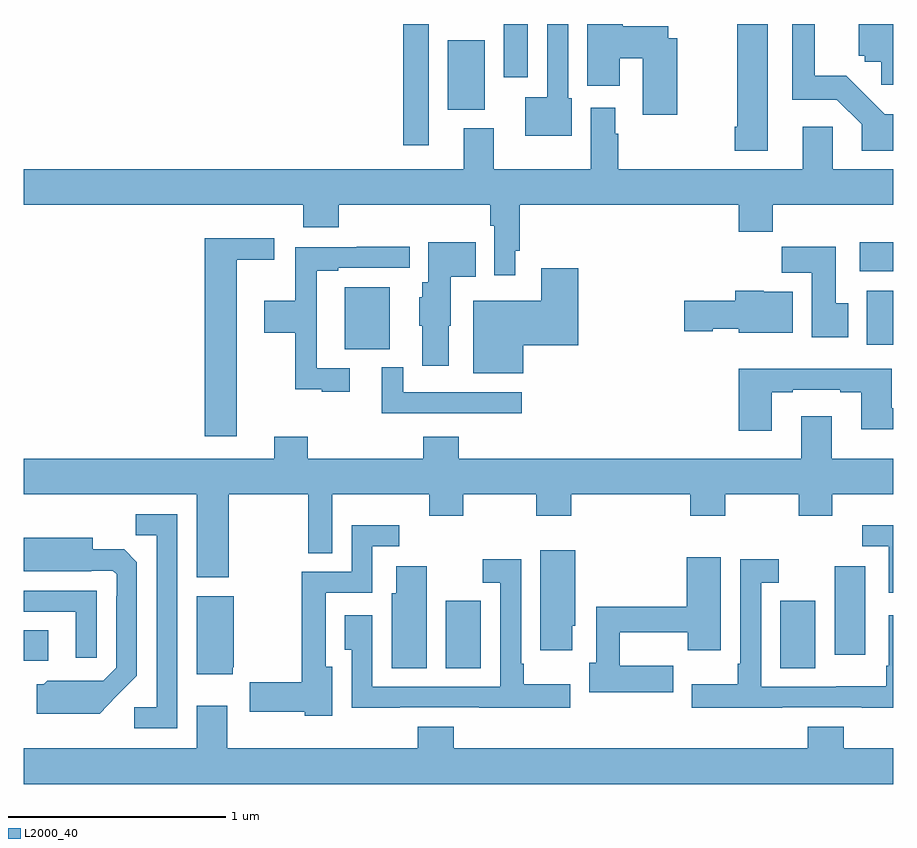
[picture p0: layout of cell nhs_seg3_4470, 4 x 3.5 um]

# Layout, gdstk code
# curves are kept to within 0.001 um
import gdstk
lib = gdstk.Library(unit=1e-6, precision=1e-09)
def R(c, l, rs):  # rectangles x0, y0, x1, y1
    for r in rs: c.add(gdstk.rectangle(r[:2], r[2:], *l))
def P(c, l, *ps):  # polygons
    for p in ps: c.add(gdstk.Polygon(p, *l))
L2000_40 = (2000, 40)

nhs_seg3_4470 = lib.new_cell('nhs_seg3_4470')
R(nhs_seg3_4470, L2000_40, [(350.942,713.437,351.103,713.748), (352.481,713.437,352.642,713.748), (349,713.472,349.114,713.612), (352.73,713.499,352.87,713.905), (350.477,714.905,350.683,715.189), (352.877,714.924,353,715.174), (352.845,715.262,353,715.396), (350.746,715.842,350.862,716.4), (350.951,716.006,351.121,716.326), (351.209,716.154,351.319,716.4)])
P(nhs_seg3_4470, L2000_40, [(351.52,716.058),(351.504,716.058),(351.504,716.4),(351.408,716.4),(351.408,716.062),(351.308,716.062),(351.308,715.886),(351.52,715.886)],
  [(353,715.984),(352.961,715.984),(352.783,716.162),(352.639,716.162),(352.639,716.4),(352.535,716.4),(352.535,716.052),(352.74,716.052),(352.854,715.938),(352.854,715.818),(353,715.818)],
  [(352.423,716.4),(352.283,716.4),(352.283,715.927),(352.271,715.927),(352.271,715.817),(352.423,715.817)],
  [(353,716.4),(352.841,716.4),(352.841,716.253),(352.869,716.253),(352.869,716.226),(352.945,716.226),(352.945,716.121),(353,716.121)],
  [(352.006,716.335),(351.964,716.335),(351.964,716.39),(351.755,716.39),(351.755,716.4),(351.593,716.4),(351.593,716.115),(351.742,716.115),(351.742,716.243),(351.848,716.243),(351.848,715.983),(352.006,715.983)],
  [(351.261,715.357),(351.281,715.357),(351.281,715.568),(352.289,715.568),(352.289,715.444),(352.445,715.444),(352.445,715.568),(353,715.568),(353,715.732),(352.722,715.732),(352.722,715.927),(352.583,715.927),(352.583,715.732),(351.734,715.732),(351.734,715.895),(351.721,715.895),(351.721,716.014),(351.608,716.014),(351.608,715.732),(351.163,715.732),(351.163,715.921),(351.023,715.921),(351.023,715.732),(349,715.732),(349,715.568),(350.285,715.568),(350.285,715.466),(350.45,715.466),(350.45,715.568),(351.145,715.568),(351.145,715.472),(351.165,715.472),(351.165,715.245),(351.261,715.245)],
  [(349.981,715.316),(350.152,715.316),(350.152,715.414),(349.832,715.414),(349.832,714.504),(349.981,714.504)],
  [(350.956,715.011),(350.965,715.011),(350.965,715.238),(351.08,715.238),(351.08,715.396),(350.861,715.396),(350.861,715.212),(350.834,715.212),(350.834,715.143),(350.819,715.143),(350.819,715.011),(350.834,715.011),(350.834,714.828),(350.956,714.828)],
  [(350.5,714.816),(350.349,714.816),(350.349,715.266),(350.446,715.266),(350.446,715.278),(350.776,715.278),(350.776,715.376),(350.533,715.376),(350.533,715.374),(350.248,715.374),(350.248,715.126),(350.106,715.126),(350.106,714.979),(350.248,714.979),(350.248,714.719),(350.372,714.719),(350.372,714.708),(350.5,714.708)],
  [(352.792,715.116),(352.735,715.116),(352.735,715.375),(352.486,715.375),(352.486,715.256),(352.625,715.256),(352.625,714.96),(352.792,714.96)],
  [(351.298,714.923),(351.551,714.923),(351.551,715.276),(351.38,715.276),(351.38,715.126),(351.068,715.126),(351.068,714.794),(351.298,714.794)],
  [(352.537,715.168),(352.404,715.168),(352.404,715.174),(352.274,715.174),(352.274,715.128),(352.038,715.128),(352.038,714.986),(352.17,714.986),(352.17,714.998),(352.29,714.998),(352.29,714.98),(352.537,714.98)],
  [(351.292,714.705),(350.745,714.705),(350.745,714.82),(350.648,714.82),(350.648,714.609),(351.292,714.609)],
  [(352.441,714.705),(352.537,714.705),(352.537,714.717),(352.757,714.717),(352.757,714.705),(352.853,714.705),(352.853,714.536),(353,714.536),(353,714.633),(352.993,714.633),(352.993,714.814),(352.289,714.814),(352.289,714.528),(352.441,714.528)],
  [(349.944,714.236),(350.308,714.236),(350.308,713.965),(350.419,713.965),(350.419,714.236),(350.866,714.236),(350.866,714.137),(351.021,714.137),(351.021,714.236),(351.358,714.236),(351.358,714.137),(351.518,714.137),(351.518,714.236),(352.067,714.236),(352.067,714.137),(352.227,714.137),(352.227,714.236),(352.564,714.236),(352.564,714.137),(352.719,714.137),(352.719,714.236),(353,714.236),(353,714.4),(352.717,714.4),(352.717,714.595),(352.577,714.595),(352.577,714.4),(351.002,714.4),(351.002,714.502),(350.837,714.502),(350.837,714.4),(350.306,714.4),(350.306,714.502),(350.153,714.502),(350.153,714.4),(349,714.4),(349,714.236),(349.796,714.236),(349.796,713.856),(349.944,713.856)],
  [(349.707,714.144),(349.516,714.144),(349.516,714.049),(349.611,714.049),(349.611,713.256),(349.509,713.256),(349.509,713.16),(349.707,713.16)],
  [(350.419,713.443),(350.389,713.443),(350.389,713.784),(350.604,713.784),(350.604,713.997),(350.728,713.997),(350.728,714.094),(350.508,714.094),(350.508,713.88),(350.278,713.88),(350.278,713.372),(350.04,713.372),(350.04,713.237),(350.292,713.237),(350.292,713.219),(350.419,713.219)],
  [(353,714.094),(352.857,714.094),(352.857,713.997),(352.98,713.997),(352.98,713.784),(353,713.784)],
  [(349.429,713.309),(349.521,713.402),(349.521,713.924),(349.462,713.983),(349.318,713.983),(349.318,714.037),(349,714.037),(349,713.882),(349.31,713.882),(349.31,713.886),(349.41,713.886),(349.428,713.868),(349.428,713.768),(349.425,713.768),(349.425,713.439),(349.365,713.379),(349.108,713.38),(349.092,713.364),(349.061,713.364),(349.061,713.228),(349.349,713.228)],
  [(351.523,713.631),(351.538,713.631),(351.538,713.98),(351.377,713.98),(351.377,713.52),(351.523,713.52)],
  [(351.988,713.449),(351.742,713.449),(351.742,713.603),(352.054,713.603),(352.054,713.52),(352.207,713.52),(352.207,713.947),(352.049,713.947),(352.049,713.72),(351.633,713.72),(351.633,713.462),(351.602,713.462),(351.602,713.327),(351.988,713.327)],
  [(350.729,713.256),(351.095,713.256),(351.095,713.255),(351.514,713.255),(351.514,713.362),(351.301,713.362),(351.301,713.458),(351.288,713.458),(351.288,713.938),(351.111,713.938),(351.111,713.829),(351.192,713.829),(351.192,713.352),(350.604,713.352),(350.604,713.68),(350.477,713.68),(350.477,713.521),(350.508,713.521),(350.508,713.255),(350.729,713.255)],
  [(352.489,713.256),(352.855,713.256),(352.855,713.255),(353,713.255),(353,713.68),(352.98,713.68),(352.98,713.449),(352.968,713.449),(352.968,713.353),(352.738,713.353),(352.738,713.352),(352.392,713.352),(352.392,713.829),(352.474,713.829),(352.474,713.938),(352.296,713.938),(352.296,713.458),(352.284,713.458),(352.284,713.362),(352.073,713.362),(352.073,713.255),(352.489,713.255)],
  [(350.854,713.905),(350.714,713.905),(350.714,713.781),(350.693,713.781),(350.693,713.437),(350.854,713.437)],
  [(349.335,713.793),(349,713.793),(349,713.697),(349.239,713.697),(349.239,713.484),(349.335,713.484)],
  [(349.962,713.442),(349.966,713.442),(349.966,713.767),(349.796,713.767),(349.796,713.408),(349.962,713.408)],
  [(353,713.068),(352.772,713.068),(352.772,713.167),(352.607,713.167),(352.607,713.068),(350.978,713.068),(350.978,713.167),(350.813,713.167),(350.813,713.068),(349.936,713.068),(349.936,713.263),(349.796,713.263),(349.796,713.068),(349,713.068),(349,712.904),(353,712.904)])

lib.write_gds('nhs_seg3_4470.gds')
